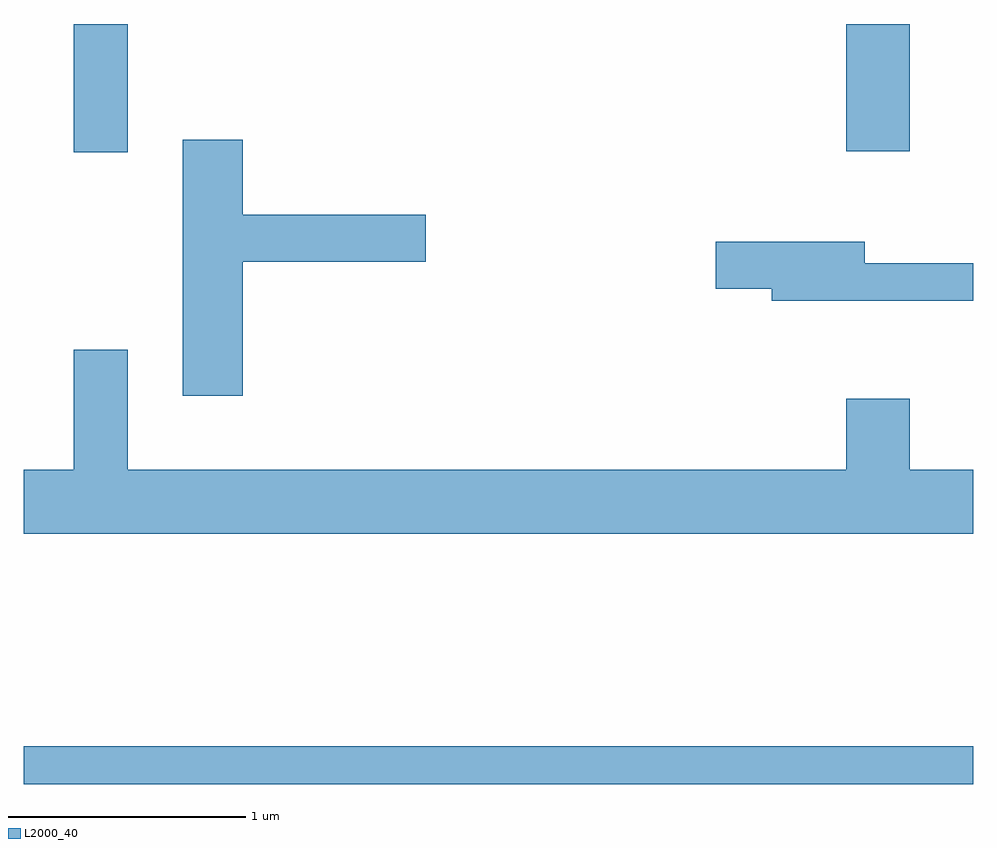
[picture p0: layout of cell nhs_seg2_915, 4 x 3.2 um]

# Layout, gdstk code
import gdstk
lib = gdstk.Library(unit=1e-6, precision=1e-09)
def R(c, l, rs):  # rectangles x0, y0, x1, y1
    for r in rs: c.add(gdstk.rectangle(r[:2], r[2:], *l))
def P(c, l, *ps):  # polygons
    for p in ps: c.add(gdstk.Polygon(p, *l))
L2000_40 = (2000, 40)

nhs_seg2_915 = lib.new_cell('nhs_seg2_915')
R(nhs_seg2_915, L2000_40, [(211.611,1040.601,215.611,1040.759), (211.821,1043.261,212.049,1043.802), (215.076,1043.266,215.344,1043.802)])
P(nhs_seg2_915, L2000_40, [(212.534,1042.801),(213.304,1042.801),(213.304,1042.999),(212.534,1042.999),(212.534,1043.314),(212.281,1043.314),(212.281,1042.236),(212.534,1042.236)],
  [(215.611,1042.794),(215.154,1042.794),(215.154,1042.884),(214.526,1042.884),(214.526,1042.686),(214.761,1042.686),(214.761,1042.636),(215.611,1042.636)],
  [(215.076,1042.224),(215.076,1041.924),(212.049,1041.924),(212.049,1042.429),(211.821,1042.429),(211.821,1041.924),(211.611,1041.924),(211.611,1041.656),(215.611,1041.656),(215.611,1041.924),(215.344,1041.924),(215.344,1042.224)])

lib.write_gds('nhs_seg2_915.gds')
